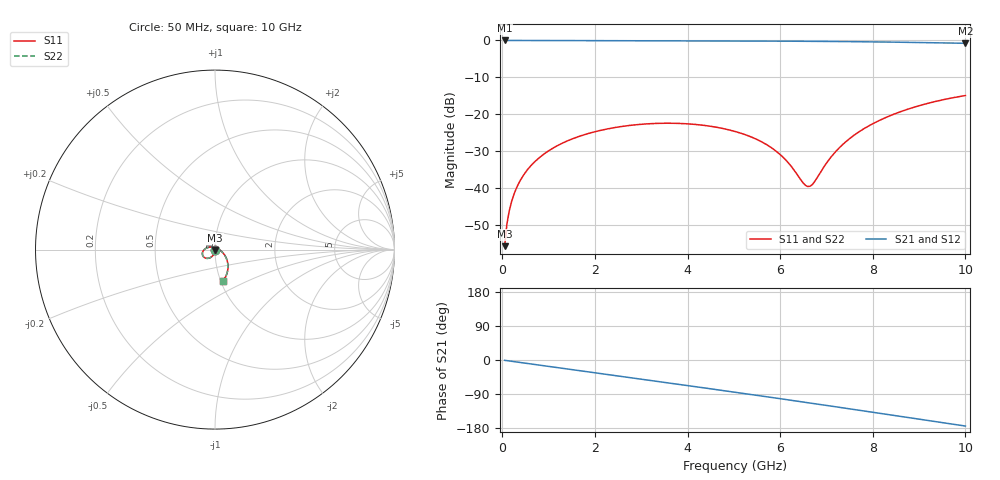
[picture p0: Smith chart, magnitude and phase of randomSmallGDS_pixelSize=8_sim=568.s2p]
! freq	dB(S11)	phase(S11)	dB(S12)	phase(S12)
!  dB(S21)	phase(S21)	dB(S22)	phase(S22)
!S-par simulation data
#  GHz  S  DB  R 50
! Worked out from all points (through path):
!   200 points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, 50 MHz to 10 GHz, reference 50 ohm
!   highest |S21| = 0.00 dB at 50 MHz (marker M1); lowest = -0.8 dB at 10 GHz (marker M2)
!   group delay of S21, straight-line fit = 48.3 ps
!   lowest |S11| = -55.6 dB at 50 MHz (marker M3), VSWR 1.00, Z = 50 - j0.165 ohm
!   |S11| at or under -10 dB: start of sweep to end of sweep
!   |S22| runs from -55.6 to -14.9 dB; largest |S21 - S12| = 0
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0.05  -55.63 -90.0  -0.00 -0.9  -0.00 -0.9  -55.63 -90.0
0.1  -49.61 -91.4  -0.00 -1.7  -0.00 -1.7  -49.61 -91.4
0.2  -43.60 -93.5  -0.00 -3.4  -0.00 -3.4  -43.60 -93.5
0.35  -38.75 -96.3  -0.01 -6.0  -0.01 -6.0  -38.75 -96.3
0.5  -35.67 -99.0  -0.01 -8.5  -0.01 -8.5  -35.67 -99.0
0.7  -32.81 -102.5  -0.02 -11.9  -0.02 -11.9  -32.81 -102.5
1  -29.85 -107.8  -0.02 -16.9  -0.02 -16.9  -29.85 -107.8
1.75  -25.57 -120.9  -0.04 -29.5  -0.04 -29.5  -25.57 -120.9
2.55  -23.31 -134.7  -0.07 -43.0  -0.07 -43.0  -23.31 -134.7
3.4  -22.41 -149.7  -0.09 -57.3  -0.09 -57.3  -22.41 -149.6
4.3  -22.88 -166.2  -0.12 -72.6  -0.12 -72.6  -22.88 -166.2
5.05  -24.69 178.5  -0.14 -85.5  -0.14 -85.5  -24.70 178.6
5.8  -28.91 158.5  -0.18 -98.6  -0.18 -98.6  -28.92 158.6
6.15  -32.72 142.2  -0.19 -104.7  -0.19 -104.7  -32.73 142.5
6.55  -39.21 87.6  -0.22 -111.8  -0.22 -111.8  -39.30 87.8
6.7  -38.88 47.8  -0.23 -114.5  -0.23 -114.5  -38.97 47.6
7.1  -31.51 -4.1  -0.27 -121.6  -0.27 -121.6  -31.53 -4.3
7.4  -27.58 -18.2  -0.30 -127.0  -0.30 -127.0  -27.59 -18.4
7.8  -23.93 -30.4  -0.35 -134.3  -0.35 -134.3  -23.94 -30.6
8.35  -20.47 -43.4  -0.44 -144.3  -0.44 -144.3  -20.48 -43.5
9.2  -16.97 -60.7  -0.59 -159.7  -0.59 -159.7  -16.97 -60.8
10  -14.90 -75.7  -0.77 -174.3  -0.77 -174.3  -14.90 -75.7
